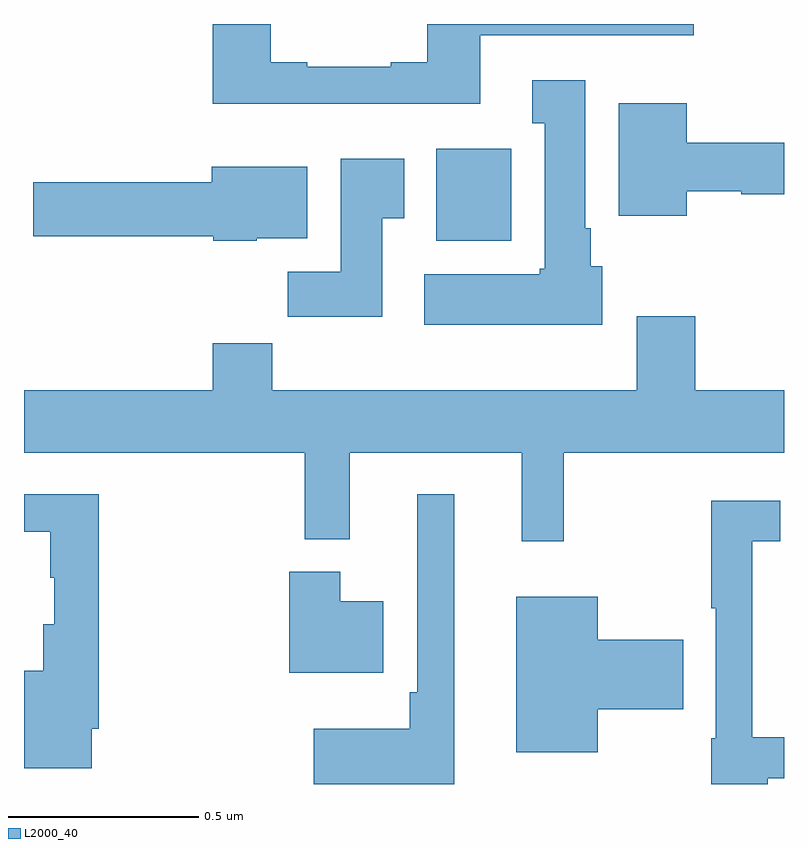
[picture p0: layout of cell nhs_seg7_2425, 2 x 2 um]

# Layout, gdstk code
import gdstk
lib = gdstk.Library(unit=1e-6, precision=1e-09)
def R(c, l, rs):  # rectangles x0, y0, x1, y1
    for r in rs: c.add(gdstk.rectangle(r[:2], r[2:], *l))
def P(c, l, *ps):  # polygons
    for p in ps: c.add(gdstk.Polygon(p, *l))
L2000_40 = (2000, 40)

nhs_seg7_2425 = lib.new_cell('nhs_seg7_2425')
R(nhs_seg7_2425, L2000_40, [(145.085,1078.43,145.282,1078.672)])
P(nhs_seg7_2425, L2000_40, [(145.201,1078.971),(145.762,1078.971),(145.762,1079),(145.061,1079),(145.061,1078.9),(144.965,1078.9),(144.965,1078.887),(144.745,1078.887),(144.745,1078.9),(144.649,1078.9),(144.649,1079),(144.497,1079),(144.497,1078.79),(145.201,1078.79)],
  [(145.522,1078.362),(145.492,1078.362),(145.492,1078.462),(145.477,1078.462),(145.477,1078.852),(145.337,1078.852),(145.337,1078.739),(145.37,1078.739),(145.37,1078.356),(145.357,1078.356),(145.357,1078.342),(145.053,1078.342),(145.053,1078.208),(145.522,1078.208)],
  [(145.744,1078.56),(145.887,1078.56),(145.887,1078.552),(146,1078.552),(146,1078.688),(145.744,1078.688),(145.744,1078.792),(145.565,1078.792),(145.565,1078.496),(145.744,1078.496)],
  [(144.943,1078.489),(145,1078.489),(145,1078.645),(144.833,1078.645),(144.833,1078.348),(144.694,1078.348),(144.694,1078.23),(144.943,1078.23)],
  [(144.612,1078.436),(144.745,1078.436),(144.745,1078.624),(144.494,1078.624),(144.494,1078.583),(144.024,1078.583),(144.024,1078.441),(144.498,1078.441),(144.498,1078.43),(144.612,1078.43)],
  [(145.42,1077.872),(146,1077.872),(146,1078.036),(145.766,1078.036),(145.766,1078.231),(145.613,1078.231),(145.613,1078.036),(144.653,1078.036),(144.653,1078.16),(144.497,1078.16),(144.497,1078.036),(144,1078.036),(144,1077.872),(144.739,1077.872),(144.739,1077.644),(144.857,1077.644),(144.857,1077.872),(145.31,1077.872),(145.31,1077.639),(145.42,1077.639)],
  [(145.132,1077.763),(145.035,1077.763),(145.035,1077.241),(145.015,1077.241),(145.015,1077.145),(144.762,1077.145),(144.762,1077),(145.132,1077)],
  [(144.178,1077.145),(144.197,1077.145),(144.197,1077.762),(144,1077.762),(144,1077.664),(144.069,1077.664),(144.069,1077.543),(144.08,1077.543),(144.08,1077.421),(144.05,1077.421),(144.05,1077.298),(144,1077.298),(144,1077.041),(144.178,1077.041)],
  [(145.957,1077.015),(146,1077.015),(146,1077.123),(145.917,1077.123),(145.917,1077.639),(145.99,1077.639),(145.99,1077.745),(145.809,1077.745),(145.809,1077.463),(145.821,1077.463),(145.821,1077.12),(145.809,1077.12),(145.809,1077),(145.957,1077)],
  [(144.946,1077.481),(144.832,1077.481),(144.832,1077.559),(144.698,1077.559),(144.698,1077.293),(144.946,1077.293)],
  [(145.51,1077.197),(145.735,1077.197),(145.735,1077.38),(145.51,1077.38),(145.51,1077.493),(145.295,1077.493),(145.295,1077.083),(145.51,1077.083)])

lib.write_gds('nhs_seg7_2425.gds')
